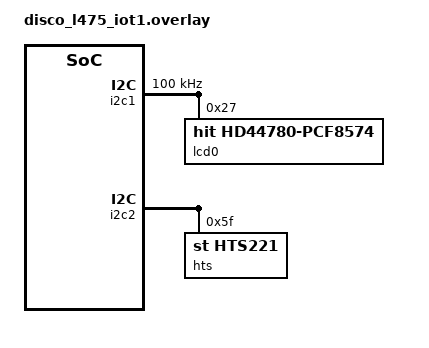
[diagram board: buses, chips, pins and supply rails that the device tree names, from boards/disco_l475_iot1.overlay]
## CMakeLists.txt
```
cmake_minimum_required(VERSION 3.20.0)
set(ZEPHYR_EXTRA_MODULES "${CMAKE_SOURCE_DIR}/../../modules/my_hd44780_pcf8574_mod")

find_package(Zephyr REQUIRED HINTS $ENV{ZEPHYR_BASE})
project(lcd_sens)

#include_directories(include)
target_sources(app PRIVATE src/main.c)
#include_directories(include)
```

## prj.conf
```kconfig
CONFIG_I2C=y
CONFIG_LOG=y
CONFIG_HD44780_PCF8574=y

CONFIG_SENSOR=y
CONFIG_FPU=y
CONFIG_CBPRINTF_FP_SUPPORT=y
```

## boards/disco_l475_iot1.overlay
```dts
&i2c1 {
	status = "okay";
	clock-frequency = <I2C_BITRATE_STANDARD>;

	lcd0: lcd@27 {
		compatible = "hit,hd44780-pcf8574";
		reg = <0x27>;
		columns = <16>;
		rows = <2>;
		/* bl-active-low; */
		status="okay";
	};
};

&i2c2 {
        status = "okay";

        /* HTS221 @ 0x5F */
        hts: hts221@5f {
                compatible = "st,hts221";
                reg = <0x5f>;
                /* adjust to your actual DRDY pin if you want an IRQ */
                /* drdy-gpios = <&gpiod 15 GPIO_ACTIVE_HIGH>; */
                status = "okay";
        };
};
/ {
        aliases {
                ht-sensor = &hts;
		lcd=&lcd0;
        };
};
```

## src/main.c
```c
#include <zephyr/device.h>
#include <zephyr/kernel.h>
#include <zephyr/devicetree.h>
#include <zephyr/logging/log.h>
#include "hd44780_pcf8574.h"
#include <zephyr/drivers/i2c.h>
#include <zephyr/drivers/sensor.h>


LOG_MODULE_REGISTER(app, LOG_LEVEL_INF);

const struct device *hts_dev = DEVICE_DT_GET(DT_ALIAS(ht_sensor));
const struct device *lcd = DEVICE_DT_GET(DT_ALIAS(lcd));

int hum_temp_sensor_lcd_data()
{

	char buf[20];
	if (!device_is_ready(hts_dev)) return -1;
	if (sensor_sample_fetch(hts_dev) < 0)
	{
		return -1;
	}
	struct sensor_value temp, hum;
	if (sensor_channel_get(hts_dev, SENSOR_CHAN_AMBIENT_TEMP, &temp) < 0) return -1;
	if (sensor_channel_get(hts_dev, SENSOR_CHAN_HUMIDITY, &hum) < 0) return -1;

	double t = sensor_value_to_double(&temp);
	double h = sensor_value_to_double(&hum);
	
	snprintf(buf,sizeof(buf),"Temp: %2.1f C", t);
	hd44780_set_cursor(lcd,0,0);
	hd44780_print(lcd,buf);
	LOG_INF("%s",buf);
	hd44780_set_cursor(lcd,0,1);
	snprintf(buf,sizeof(buf),"Hum:  %2.1f %%", h);
	hd44780_print(lcd,buf);
	LOG_INF("%s",buf);

	return 0;

}

int hum_temp_sensor_check(void)
{
	if (!device_is_ready(hts_dev)) 
	{
	       	LOG_ERR("sensor: %s device not ready.", hts_dev->name);
		hd44780_set_cursor(lcd, 0, 0);
       	 	hd44780_print(lcd, "Sensor err!");

       		return -1;
    	}
	hd44780_set_cursor(lcd, 0, 0);
        hd44780_print(lcd, "Sensor ok!");
	k_msleep(500);


    return 0;
}


int main(void)
{
	
	if (!device_is_ready(lcd)) {
		LOG_ERR("LCD not ready");
		return -1;
	}
	
	hd44780_clear(lcd);
	LOG_INF("clear");
	hum_temp_sensor_check();
	while(1)
	{
		hum_temp_sensor_lcd_data();
		k_msleep(100);
	}
}
```
